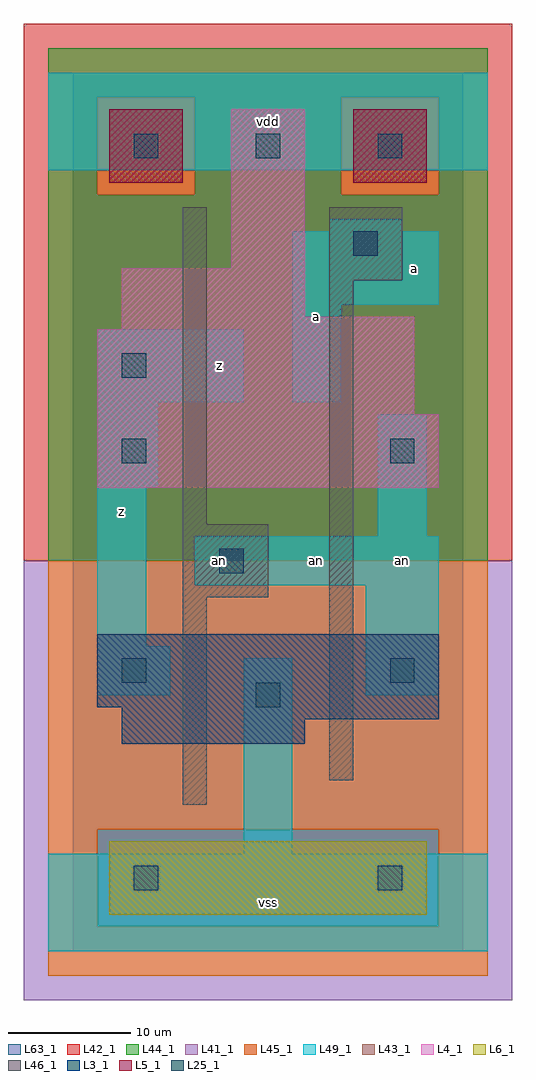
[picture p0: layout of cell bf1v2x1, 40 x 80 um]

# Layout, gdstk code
import gdstk
lib = gdstk.Library(unit=1e-6, precision=1e-09)
def R(c, l, rs):  # rectangles x0, y0, x1, y1
    for r in rs: c.add(gdstk.rectangle(r[:2], r[2:], *l))
def A(c, l, x, y, w, h, nx, ny, dx, dy):  # array of equal rectangles
    R(c, l, [(x+i*dx, y+j*dy, x+i*dx+w, y+j*dy+h) for i in range(nx) for j in range(ny)])
L3_1 = (3, 1)
L4_1 = (4, 1)
L5_1 = (5, 1)
L6_1 = (6, 1)
L25_1 = (25, 1)
L41_1 = (41, 1)
L42_1 = (42, 1)
L43_1 = (43, 1)
L44_1 = (44, 1)
L45_1 = (45, 1)
L46_1 = (46, 1)
L49_1 = (49, 1)
L63_1 = (63, 1)

bf1v2x1 = lib.new_cell('bf1v2x1')
R(bf1v2x1, L3_1, [(4,17,19,19), (4,19,30,20), (2,20,30,26)])
R(bf1v2x1, L4_1, [(2,38,30,44), (2,44,28,51), (4,51,28,52), (4,52,19,56), (13,56,19,69)])
R(bf1v2x1, L5_1, [(3,63,9,69), (23,63,29,69)])
R(bf1v2x1, L6_1, [(3,3,29,9), (3,3,29,9)])
A(bf1v2x1, L25_1, 5, 65, 2, 2, 3, 1, 10, 0)
R(bf1v2x1, L25_1, [(5,5,7,7), (25,5,27,7), (15,20,17,22), (4,22,6,24), (26,22,28,24), (12,31,14,33), (4,40,6,42), (26,40,28,42), (4,47,6,49), (23,57,25,59)])
R(bf1v2x1, L41_1, [(-4,-4,36,32)])
R(bf1v2x1, L42_1, [(-4,32,36,76)])
R(bf1v2x1, L43_1, [(3,3,29,9), (4,17,19,19), (4,19,30,20), (2,20,30,26), (2,38,30,44), (2,44,28,51), (4,51,28,52), (4,52,19,56), (13,56,19,69), (3,63,9,69), (23,63,29,69)])
R(bf1v2x1, L44_1, [(2,2,30,10), (-2,32,34,62), (-2,62,2,70), (10,62,22,70), (30,62,34,70), (-2,70,34,74)])
R(bf1v2x1, L45_1, [(-2,-2,34,2), (-2,2,2,10), (30,2,34,10), (-2,10,34,32), (2,62,10,70), (22,62,30,70)])
R(bf1v2x1, L46_1, [(9,12,11,29), (21,14,23,55), (9,29,16,35), (9,35,11,61), (21,55,27,61)])
R(bf1v2x1, L49_1, [(-2,0,34,8), (14,8,18,24), (2,21,8,25), (24,21,30,30), (2,25,6,38), (10,30,30,34), (25,34,29,44), (2,38,7,45), (2,45,14,51), (18,45,22,53), (18,53,30,59), (21,59,27,60), (-2,64,34,72)])
R(bf1v2x1, L63_1, [(0,0,32,72)])
bf1v2x1.add(gdstk.Label('an', (12,32), layer=49, texttype=1))
bf1v2x1.add(gdstk.Label('z', (4,36), layer=49, texttype=1))
bf1v2x1.add(gdstk.Label('z', (12,48), layer=49, texttype=1))
bf1v2x1.add(gdstk.Label('vss', (16,4), layer=49, texttype=1))
bf1v2x1.add(gdstk.Label('a', (20,52), layer=49, texttype=1))
bf1v2x1.add(gdstk.Label('vdd', (16,68), layer=49, texttype=1))
bf1v2x1.add(gdstk.Label('an', (20,32), layer=49, texttype=1))
bf1v2x1.add(gdstk.Label('an', (27,32), layer=49, texttype=1))
bf1v2x1.add(gdstk.Label('a', (28,56), layer=49, texttype=1))

lib.write_gds('bf1v2x1.gds')
